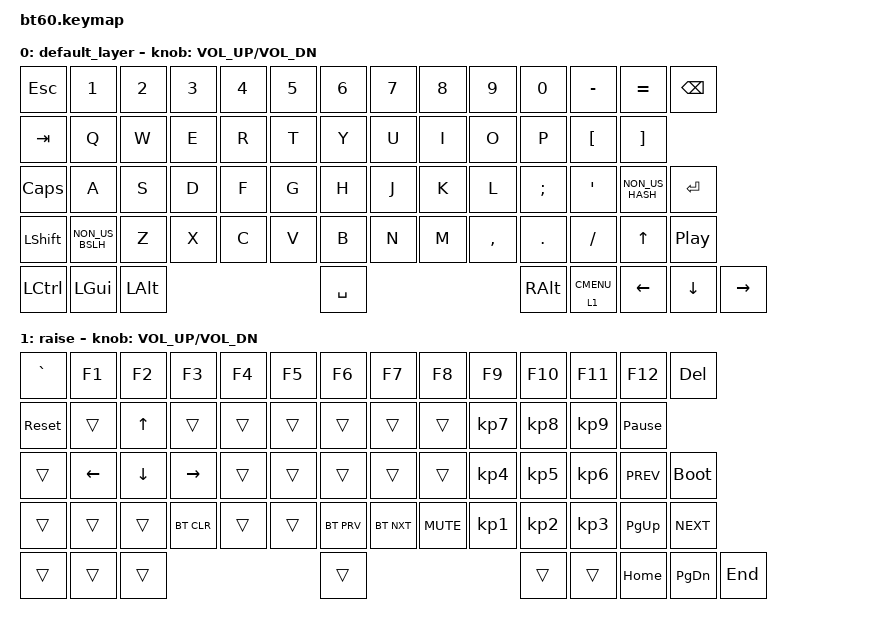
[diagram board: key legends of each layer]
#include <behaviors.dtsi>
#include <dt-bindings/zmk/bt.h>
#include <dt-bindings/zmk/keys.h>

/ {
    keymap {
        compatible = "zmk,keymap";

        default_layer {
            // ------------------------------------------------------------------------------------------
            // | ESC |  1  |  2  |  3  |  4  |  5  |  6  |  7  |  8  |  9  |  0  |  -  |  =  |   BKSP   |
            // | TAB  |  Q  |  W  |  E  |  R  |  T  |  Y  |  U  |  I  |  O  |  P  |  [  |  ]  |         |
            // | CAPS  |  A  |  S  |  D  |  F  |  G  |  H  |  J  |  K  |  L  |  ;  |  '  |  #   | ENTER |
            // |  SHIFT | |  |  Z  |  X  |  C  |  V  |  B  |  N  |  M  |  ,  |  .  | /   |  | up | C_PP |
            // |  CTL  |  WIN  |  ALT  |                     SPACE        | ALT | FN | LFT | DOWN | RGT |
            // ------------------------------------------------------------------------------------------

            bindings = <
&kp ESC    &kp N1           &kp N2    &kp N3  &kp N4  &kp N5  &kp N6     &kp N7  &kp N8  &kp N9     &kp N0    &kp MINUS      &kp EQUAL        &kp BSPC
&kp TAB    &kp Q            &kp W     &kp E   &kp R   &kp T   &kp Y      &kp U   &kp I   &kp O      &kp P     &kp LBKT       &kp RBKT
&kp CLCK   &kp A            &kp S     &kp D   &kp F   &kp G   &kp H      &kp J   &kp K   &kp L      &kp SEMI  &kp SQT        &kp NON_US_HASH  &kp RET
&kp LSHFT  &kp NON_US_BSLH  &kp Z     &kp X   &kp C   &kp V   &kp B      &kp N   &kp M   &kp COMMA  &kp DOT   &kp FSLH       &kp UP                     &kp C_PP
&kp LCTRL  &kp LGUI         &kp LALT                          &kp SPACE                             &kp RALT  &lt 1 K_CMENU  &kp LEFT         &kp DOWN  &kp RIGHT
            >;

            sensor-bindings = <&inc_dec_kp C_VOL_UP C_VOL_DN>;
        };

        raise {
            bindings = <
&kp GRAVE   &kp F1      &kp F2    &kp F3      &kp F4  &kp F5  &kp F6      &kp F7      &kp F8      &kp F9           &kp F10          &kp F11          &kp F12          &kp DEL
&sys_reset  &trans      &kp UP    &trans      &trans  &trans  &trans      &trans      &trans      &kp KP_NUMBER_7  &kp KP_NUMBER_8  &kp KP_NUMBER_9  &kp PAUSE_BREAK
&trans      &kp LEFT    &kp DOWN  &kp RIGHT   &trans  &trans  &trans      &trans      &trans      &kp KP_NUMBER_4  &kp KP_NUMBER_5  &kp KP_NUMBER_6  &kp C_PREV       &bootloader
&trans      &trans      &trans    &bt BT_CLR  &trans  &trans  &bt BT_PRV  &bt BT_NXT  &kp C_MUTE  &kp KP_NUMBER_1  &kp KP_NUMBER_2  &kp KP_NUMBER_3  &kp PG_UP                       &kp C_NEXT
&trans      &trans      &trans                                &trans                                               &trans           &trans           &kp HOME         &kp PAGE_DOWN  &kp END
            >;

            sensor-bindings = <&inc_dec_kp C_VOL_UP C_VOL_DN>;
        };
    };
};
